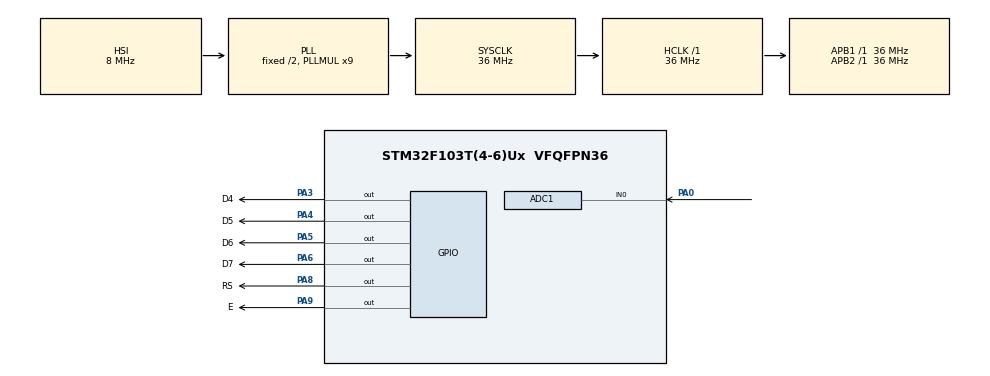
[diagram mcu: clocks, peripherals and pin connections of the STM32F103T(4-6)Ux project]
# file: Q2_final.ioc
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ADC1.Channel-0\#ChannelRegularConversion=ADC_CHANNEL_0
ADC1.ContinuousConvMode=ENABLE
ADC1.NbrOfConversionFlag=1
ADC1.Rank-0\#ChannelRegularConversion=1
ADC1.SamplingTime-0\#ChannelRegularConversion=ADC_SAMPLETIME_1CYCLE_5
ADC1.master=1
Mcu.Family=STM32F1
Mcu.Name=STM32F103T(4-6)Ux
Mcu.Package=VFQFPN36
NVIC.PriorityGroup=NVIC_PRIORITYGROUP_4
PA0-WKUP.Signal=ADCx_IN0
PA3.GPIO_Label=D4
PA3.Signal=GPIO_Output
PA4.GPIO_Label=D5
PA4.Signal=GPIO_Output
PA5.GPIO_Label=D6
PA5.Signal=GPIO_Output
PA6.GPIO_Label=D7
PA6.Signal=GPIO_Output
PA8.GPIO_Label=RS
PA8.Signal=GPIO_Output
PA9.GPIO_Label=E
PA9.Signal=GPIO_Output
ProjectManager.HeapSize=0x200
ProjectManager.StackSize=0x400
ProjectManager.TargetToolchain=STM32CubeIDE
RCC.ADCPresc=RCC_ADCPCLK2_DIV4
RCC.AHBFreq_Value=36000000
RCC.APB1Freq_Value=36000000
RCC.APB1TimFreq_Value=36000000
RCC.APB2Freq_Value=36000000
RCC.APB2TimFreq_Value=36000000
RCC.HCLKFreq_Value=36000000
RCC.PLLMUL=RCC_PLL_MUL9
RCC.SYSCLKFreq_VALUE=36000000
RCC.SYSCLKSource=RCC_SYSCLKSOURCE_PLLCLK
RCC.USBFreq_Value=36000000
SH.ADCx_IN0.0=ADC1_IN0,IN0
VP_SYS_VS_ND.Mode=No_Debug
board=custom

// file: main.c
/* USER CODE BEGIN Header */
/**
  ******************************************************************************
  * @file           : main.c
  * @brief          : Main program body
  ******************************************************************************
  * @attention
  *
  * Copyright (c) 2022 STMicroelectronics.
  * All rights reserved.
  *
  * This software is licensed under terms that can be found in the LICENSE file
  * in the root directory of this software component.
  * If no LICENSE file comes with this software, it is provided AS-IS.
  *
  ******************************************************************************
  */
/* USER CODE END Header */
#include "main.h"

/* USER CODE BEGIN Includes */
#include "lcd.h"
#include "stdio.h"
/* USER CODE END Includes */

 ADC_HandleTypeDef hadc1;

void SystemClock_Config(void);
static void MX_GPIO_Init(void);
static void MX_ADC1_Init(void);

/* USER CODE BEGIN 0 */
uint32_t adcVal;
/* USER CODE END 0 */

int main(void)
{

  /* MCU Configuration--------------------------------------------------------*/

  /* Reset of all peripherals, Initializes the Flash interface and the Systick. */
  HAL_Init();

  /* Configure the system clock */
  SystemClock_Config();

  /* Initialize all configured peripherals */
  MX_GPIO_Init();
  MX_ADC1_Init();
  /* USER CODE BEGIN 2 */
  Lcd_PortType ports [] = {
      		D4_GPIO_Port, D5_GPIO_Port, D6_GPIO_Port, D7_GPIO_Port
    };
    Lcd_PinType pins [] = {
      	   D4_Pin, D5_Pin, D6_Pin, D7_Pin
    };

    Lcd_HandleTypeDef lcd = Lcd_create(ports, pins, RS_GPIO_Port, RS_Pin, E_GPIO_Port, E_Pin, LCD_4_BIT_MODE);
    float Vref = 3.5;
    float weight = 0;
    float p1 = 0.001395;
    float p2 = 2.828;
    float voltage_val = 1.0;
    HAL_ADC_Start(&hadc1);
  /* USER CODE END 2 */

  /* Infinite loop */
  while (1)
  {

    /* USER CODE BEGIN 3 */
	  adcVal = HAL_ADC_GetValue(&hadc1);
	  Lcd_clear(&lcd);
	  Lcd_cursor(&lcd, 0, 0);
	  voltage_val = adcVal * Vref / 4095.0;
	  weight = ((1/p1)*voltage_val - (p2/p1))/1000;
	  Lcd_float(&lcd, weight);
	  HAL_Delay(10);
  }
  /* USER CODE END 3 */
}

void SystemClock_Config(void)
{
  RCC_OscInitTypeDef RCC_OscInitStruct = {0};
  RCC_ClkInitTypeDef RCC_ClkInitStruct = {0};
  RCC_PeriphCLKInitTypeDef PeriphClkInit = {0};

  /** Initializes the RCC Oscillators according to the specified parameters
  * in the RCC_OscInitTypeDef structure.
  */
  RCC_OscInitStruct.OscillatorType = RCC_OSCILLATORTYPE_HSI;
  RCC_OscInitStruct.HSIState = RCC_HSI_ON;
  RCC_OscInitStruct.HSICalibrationValue = RCC_HSICALIBRATION_DEFAULT;
  RCC_OscInitStruct.PLL.PLLState = RCC_PLL_ON;
  RCC_OscInitStruct.PLL.PLLSource = RCC_PLLSOURCE_HSI_DIV2;
  RCC_OscInitStruct.PLL.PLLMUL = RCC_PLL_MUL9;
  if (HAL_RCC_OscConfig(&RCC_OscInitStruct) != HAL_OK)
  {
    Error_Handler();
  }

  /** Initializes the CPU, AHB and APB buses clocks
  */
  RCC_ClkInitStruct.ClockType = RCC_CLOCKTYPE_HCLK|RCC_CLOCKTYPE_SYSCLK
                              |RCC_CLOCKTYPE_PCLK1|RCC_CLOCKTYPE_PCLK2;
  RCC_ClkInitStruct.SYSCLKSource = RCC_SYSCLKSOURCE_PLLCLK;
  RCC_ClkInitStruct.AHBCLKDivider = RCC_SYSCLK_DIV1;
  RCC_ClkInitStruct.APB1CLKDivider = RCC_HCLK_DIV1;
  RCC_ClkInitStruct.APB2CLKDivider = RCC_HCLK_DIV1;

  if (HAL_RCC_ClockConfig(&RCC_ClkInitStruct, FLASH_LATENCY_1) != HAL_OK)
  {
    Error_Handler();
  }
  PeriphClkInit.PeriphClockSelection = RCC_PERIPHCLK_ADC;
  PeriphClkInit.AdcClockSelection = RCC_ADCPCLK2_DIV4;
  if (HAL_RCCEx_PeriphCLKConfig(&PeriphClkInit) != HAL_OK)
  {
    Error_Handler();
  }
}

static void MX_ADC1_Init(void)
{

  ADC_ChannelConfTypeDef sConfig = {0};

  /** Common config
  */
  hadc1.Instance = ADC1;
  hadc1.Init.ScanConvMode = ADC_SCAN_DISABLE;
  hadc1.Init.ContinuousConvMode = ENABLE;
  hadc1.Init.DiscontinuousConvMode = DISABLE;
  hadc1.Init.ExternalTrigConv = ADC_SOFTWARE_START;
  hadc1.Init.DataAlign = ADC_DATAALIGN_RIGHT;
  hadc1.Init.NbrOfConversion = 1;
  if (HAL_ADC_Init(&hadc1) != HAL_OK)
  {
    Error_Handler();
  }

  /** Configure Regular Channel
  */
  sConfig.Channel = ADC_CHANNEL_0;
  sConfig.Rank = ADC_REGULAR_RANK_1;
  sConfig.SamplingTime = ADC_SAMPLETIME_1CYCLE_5;
  if (HAL_ADC_ConfigChannel(&hadc1, &sConfig) != HAL_OK)
  {
    Error_Handler();
  }

}

static void MX_GPIO_Init(void)
{
  GPIO_InitTypeDef GPIO_InitStruct = {0};

  /* GPIO Ports Clock Enable */
  __HAL_RCC_GPIOA_CLK_ENABLE();

  /*Configure GPIO pin Output Level */
  HAL_GPIO_WritePin(GPIOA, D4_Pin|D5_Pin|D6_Pin|D7_Pin
                          |RS_Pin|E_Pin, GPIO_PIN_RESET);

  /*Configure GPIO pins : D4_Pin D5_Pin D6_Pin D7_Pin
                           RS_Pin E_Pin */
  GPIO_InitStruct.Pin = D4_Pin|D5_Pin|D6_Pin|D7_Pin
                          |RS_Pin|E_Pin;
  GPIO_InitStruct.Mode = GPIO_MODE_OUTPUT_PP;
  GPIO_InitStruct.Pull = GPIO_NOPULL;
  GPIO_InitStruct.Speed = GPIO_SPEED_FREQ_LOW;
  HAL_GPIO_Init(GPIOA, &GPIO_InitStruct);

}

void Error_Handler(void)
{
  __disable_irq();
  while (1)
  {
  }
}
